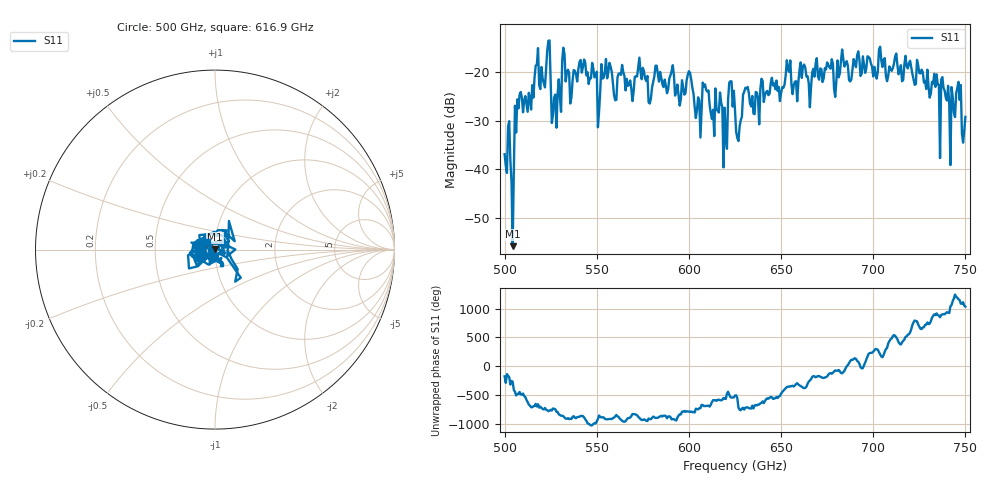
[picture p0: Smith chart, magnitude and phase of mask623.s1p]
!Created with skrf (http://scikit-rf.org).
# GHz S MA R 50.0
!freq magS11 angS11
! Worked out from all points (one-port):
!   401 points, 500 GHz to 750 GHz, reference 50 ohm
!   lowest |S11| = -55.9 dB at 504.4 GHz (marker M1), VSWR 1.00, Z = 50 + j0.16 ohm
!   |S11| at or under -10 dB: start of sweep to end of sweep
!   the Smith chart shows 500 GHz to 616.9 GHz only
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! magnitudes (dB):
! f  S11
! 500 GHz  -36.9
! 504.4 GHz  -55.9
! 508.1 GHz  -24.6
! 523.8 GHz  -13.5
! 526.9 GHz  -25.2
! 531.2 GHz  -17.5
! 548.8 GHz  -21.1
! 550.6 GHz  -31.3
! 553.8 GHz  -21.2
! 560 GHz  -25.8
! 562.5 GHz  -20.2
! 579.4 GHz  -25.4
! 590.6 GHz  -19.8
! 593.8 GHz  -22.5
! 600 GHz  -19.8
! 605 GHz  -25.2
! 608.8 GHz  -22.5
! 619.4 GHz  -27.3
! 623.1 GHz  -21.9
! 625 GHz  -27.8
! 626.9 GHz  -34.2
! 630.6 GHz  -23.2
! 656.2 GHz  -24.5
! 687.5 GHz  -21.9
! 718.8 GHz  -19.2
! 743.1 GHz  -25.1
! 746.2 GHz  -22.0
! 750 GHz  -29.2
